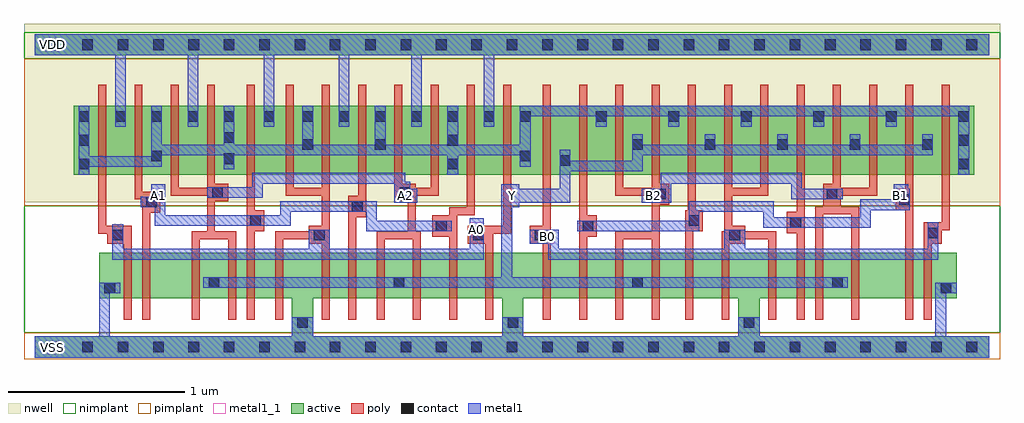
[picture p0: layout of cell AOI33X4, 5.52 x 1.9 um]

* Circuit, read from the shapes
.subckt AOI33X4 A0 A1 A2 B0 B1 B2 VDD VSS Y
M1 n1 A0 VSS VSS nfet w=0.26u l=0.045u
M2 n2 A1 n1 VSS nfet w=0.26u l=0.045u
M3 Y A2 n2 VSS nfet w=0.26u l=0.045u
M4 n3 A2 Y VSS nfet w=0.26u l=0.045u
M5 n4 A1 n3 VSS nfet w=0.26u l=0.045u
M6 VSS A0 n4 VSS nfet w=0.26u l=0.045u
M7 n5 A0 VSS VSS nfet w=0.26u l=0.045u
M8 n6 A1 n5 VSS nfet w=0.26u l=0.045u
M9 Y A2 n6 VSS nfet w=0.26u l=0.045u
M10 n7 A2 Y VSS nfet w=0.26u l=0.045u
M11 n8 A1 n7 VSS nfet w=0.26u l=0.045u
M12 VSS A0 n8 VSS nfet w=0.26u l=0.045u
M13 n9 B0 VSS VSS nfet w=0.26u l=0.045u
M14 n10 B1 n9 VSS nfet w=0.26u l=0.045u
M15 Y B2 n10 VSS nfet w=0.26u l=0.045u
M16 n11 B2 Y VSS nfet w=0.26u l=0.045u
M17 n12 B1 n11 VSS nfet w=0.26u l=0.045u
M18 VSS B0 n12 VSS nfet w=0.26u l=0.045u
M19 n13 B0 VSS VSS nfet w=0.26u l=0.045u
M20 n14 B1 n13 VSS nfet w=0.26u l=0.045u
M21 Y B2 n14 VSS nfet w=0.26u l=0.045u
M22 n15 B2 Y VSS nfet w=0.26u l=0.045u
M23 n16 B1 n15 VSS nfet w=0.26u l=0.045u
M24 VSS B0 n16 VSS nfet w=0.26u l=0.045u
M25 VDD A0 n17 VDD pfet w=0.39u l=0.045u m=4
M26 n17 A1 VDD VDD pfet w=0.39u l=0.045u m=4
M27 VDD A2 n17 VDD pfet w=0.39u l=0.045u m=4
M28 Y B0 n17 VDD pfet w=0.39u l=0.045u m=4
M29 n17 B1 Y VDD pfet w=0.39u l=0.045u m=4
M30 Y B2 n17 VDD pfet w=0.39u l=0.045u m=4
.ends

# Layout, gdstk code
import gdstk
lib = gdstk.Library(unit=1e-6, precision=5e-10)
def R(c, l, rs):  # rectangles x0, y0, x1, y1
    for r in rs: c.add(gdstk.rectangle(r[:2], r[2:], *l))
def A(c, l, x, y, w, h, nx, ny, dx, dy):  # array of equal rectangles
    R(c, l, [(x+i*dx, y+j*dy, x+i*dx+w, y+j*dy+h) for i in range(nx) for j in range(ny)])
def P(c, l, *ps):  # polygons
    for p in ps: c.add(gdstk.Polygon(p, *l))
active = (1, 0)
nwell = (2, 0)
poly = (3, 0)
nimplant = (4, 0)
pimplant = (5, 0)
contact = (6, 0)
metal1 = (7, 0)
metal1_1 = (7, 1)

aoi33x4 = lib.new_cell('AOI33X4')
R(aoi33x4, active, [(0.22,0.975,5.315,1.365), (0,1.65,5.4,1.77)])
P(aoi33x4, active, [(0.365,0.535),(5.215,0.535),(5.215,0.275),(4.1,0.275),(4.1,0.06),(5.4,0.06),(5.4,-0.06),(0,-0.06),(0,0.06),(1.455,0.06),(1.455,0.275),(1.575,0.275),(1.575,0.06),(2.645,0.06),(2.645,0.275),(2.765,0.275),(2.765,0.06),(3.98,0.06),(3.98,0.275),(0.365,0.275)])
R(aoi33x4, nwell, [(-0.06,0.82,5.46,1.83)])
P(aoi33x4, poly, [(0.36,1.485),(0.405,1.485),(0.405,0.685),(0.55,0.685),(0.55,0.155),(0.505,0.155),(0.505,0.585),(0.41,0.585),(0.41,0.64),(0.36,0.64)],
  [(0.565,1.485),(0.61,1.485),(0.61,0.88),(0.71,0.88),(0.71,0.76),(0.655,0.76),(0.655,0.155),(0.61,0.155),(0.61,0.835),(0.565,0.835)],
  [(0.77,1.485),(0.815,1.485),(0.815,0.9),(0.975,0.9),(0.975,1.485),(1.02,1.485),(1.02,0.925),(1.095,0.925),(1.095,0.825),(1.02,0.825),(1.02,0.655),(1.14,0.655),(1.14,0.155),(1.095,0.155),(1.095,0.61),(0.935,0.61),(0.935,0.155),(0.89,0.155),(0.89,0.655),(0.975,0.655),(0.975,0.855),(0.77,0.855)],
  [(1.2,1.485),(1.245,1.485),(1.245,0.775),(1.3,0.775),(1.3,0.655),(1.245,0.655),(1.245,0.155),(1.2,0.155)],
  [(1.42,1.485),(1.465,1.485),(1.465,0.9),(1.625,0.9),(1.625,1.485),(1.67,1.485),(1.67,0.155),(1.625,0.155),(1.625,0.585),(1.55,0.585),(1.55,0.61),(1.405,0.61),(1.405,0.155),(1.36,0.155),(1.36,0.655),(1.55,0.655),(1.55,0.685),(1.625,0.685),(1.625,0.855),(1.42,0.855)],
  [(1.83,1.485),(1.875,1.485),(1.875,0.735),(1.82,0.735),(1.82,0.155),(1.775,0.155),(1.775,0.855),(1.83,0.855)],
  [(2.035,1.485),(2.08,1.485),(2.08,0.925),(2.155,0.925),(2.155,0.9),(2.24,0.9),(2.24,1.485),(2.285,1.485),(2.285,0.855),(2.155,0.855),(2.155,0.655),(2.185,0.655),(2.185,0.155),(2.14,0.155),(2.14,0.61),(1.98,0.61),(1.98,0.155),(1.935,0.155),(1.935,0.655),(2.11,0.655),(2.11,0.825),(2.035,0.825)],
  [(2.445,1.485),(2.49,1.485),(2.49,0.745),(2.39,0.745),(2.39,0.155),(2.345,0.155),(2.345,0.625),(2.25,0.625),(2.25,0.745),(2.345,0.745),(2.345,0.79),(2.445,0.79)],
  [(2.65,1.485),(2.695,1.485),(2.695,0.64),(2.595,0.64),(2.595,0.155),(2.55,0.155),(2.55,0.585),(2.45,0.585),(2.45,0.685),(2.65,0.685)],
  [(2.875,1.485),(2.92,1.485),(2.92,0.155),(2.875,0.155),(2.875,0.585),(2.8,0.585),(2.8,0.685),(2.875,0.685)],
  [(3.08,1.485),(3.125,1.485),(3.125,0.745),(3.18,0.745),(3.18,0.625),(3.125,0.625),(3.125,0.155),(3.08,0.155)],
  [(3.285,1.485),(3.33,1.485),(3.33,0.9),(3.49,0.9),(3.49,1.485),(3.535,1.485),(3.535,0.925),(3.59,0.925),(3.59,0.805),(3.535,0.805),(3.535,0.155),(3.49,0.155),(3.49,0.61),(3.33,0.61),(3.33,0.155),(3.285,0.155),(3.285,0.655),(3.49,0.655),(3.49,0.855),(3.285,0.855)],
  [(3.695,1.485),(3.74,1.485),(3.74,0.775),(3.78,0.775),(3.78,0.655),(3.725,0.655),(3.725,0.155),(3.68,0.155),(3.68,0.775),(3.695,0.775)],
  [(3.9,1.485),(3.945,1.485),(3.945,0.9),(4.105,0.9),(4.105,1.485),(4.15,1.485),(4.15,0.855),(3.945,0.855),(3.945,0.685),(4.02,0.685),(4.02,0.655),(4.195,0.655),(4.195,0.155),(4.15,0.155),(4.15,0.61),(4.02,0.61),(4.02,0.585),(3.93,0.585),(3.93,0.155),(3.885,0.155),(3.885,0.655),(3.9,0.655)],
  [(4.31,1.485),(4.355,1.485),(4.355,0.155),(4.31,0.155),(4.31,0.645),(4.255,0.645),(4.255,0.765),(4.31,0.765)],
  [(4.515,1.485),(4.56,1.485),(4.56,0.9),(4.72,0.9),(4.72,1.485),(4.765,1.485),(4.765,0.855),(4.56,0.855),(4.56,0.795),(4.665,0.795),(4.665,0.155),(4.62,0.155),(4.62,0.75),(4.46,0.75),(4.46,0.155),(4.415,0.155),(4.415,0.795),(4.46,0.795),(4.46,0.925),(4.515,0.925)],
  [(4.925,1.485),(4.97,1.485),(4.97,0.155),(4.925,0.155),(4.925,0.775),(4.87,0.775),(4.87,0.895),(4.925,0.895)],
  [(5.13,1.485),(5.175,1.485),(5.175,0.66),(5.13,0.66),(5.13,0.585),(5.075,0.585),(5.075,0.155),(5.03,0.155),(5.03,0.705),(5.13,0.705)])
R(aoi33x4, nimplant, [(-0.06,0.08,5.46,0.8), (-0.06,1.63,5.46,1.78)])
R(aoi33x4, pimplant, [(-0.06,-0.07,5.46,0.08), (-0.06,0.8,5.46,1.63)])
A(aoi33x4, contact, 0.07, -0.03, 0.06, 0.06, 27, 2, 0.2, 1.71)
A(aoi33x4, contact, 3.38, 1.115, 0.06, 0.06, 5, 1, 0.41, 0)
A(aoi33x4, contact, 0.25, 1.275, 0.06, 0.06, 5, 1, 0.205, 0)
A(aoi33x4, contact, 1.515, 1.275, 0.06, 0.06, 7, 1, 0.205, 0)
A(aoi33x4, contact, 3.175, 1.275, 0.06, 0.06, 6, 1, 0.41, 0)
R(aoi33x4, contact, [(1.485,0.11,1.545,0.17), (2.675,0.11,2.735,0.17), (4.01,0.11,4.07,0.17), (0.395,0.305,0.455,0.365), (5.125,0.305,5.185,0.365), (0.985,0.335,1.045,0.395), (2.03,0.335,2.09,0.395), (3.38,0.335,3.44,0.395), (4.51,0.335,4.57,0.395), (0.44,0.605,0.5,0.665), (1.58,0.605,1.64,0.665), (2.48,0.605,2.54,0.665), (2.83,0.605,2.89,0.665), (3.93,0.605,3.99,0.665), (5.05,0.615,5.11,0.675), (2.27,0.655,2.33,0.715), (3.1,0.655,3.16,0.715), (4.275,0.675,4.335,0.735), (1.22,0.685,1.28,0.745), (3.7,0.685,3.76,0.745), (1.795,0.765,1.855,0.825), (0.63,0.79,0.69,0.85), (4.89,0.805,4.95,0.865), (3.51,0.835,3.57,0.895), (4.48,0.835,4.54,0.895), (1.005,0.845,1.065,0.905), (2.065,0.845,2.125,0.905), (0.25,1.005,0.31,1.065), (2.335,1.005,2.395,1.065), (5.225,1.005,5.285,1.065), (2.97,1.025,3.03,1.085), (1.07,1.035,1.13,1.095), (0.66,1.05,0.72,1.11), (2.745,1.05,2.805,1.11), (1.515,1.115,1.575,1.175), (1.925,1.115,1.985,1.175), (0.25,1.14,0.31,1.2), (2.335,1.14,2.395,1.2), (5.225,1.14,5.285,1.2), (1.07,1.155,1.13,1.215), (1.295,1.275,1.355,1.335)])
P(aoi33x4, metal1, [(0,1.77),(5.4,1.77),(5.4,1.65),(2.6,1.65),(2.6,1.245),(2.54,1.245),(2.54,1.65),(2.19,1.65),(2.19,1.245),(2.13,1.245),(2.13,1.65),(1.78,1.65),(1.78,1.245),(1.72,1.245),(1.72,1.65),(1.355,1.65),(1.355,1.245),(1.295,1.245),(1.295,1.65),(0.925,1.65),(0.925,1.245),(0.865,1.245),(0.865,1.65),(0.515,1.65),(0.515,1.245),(0.455,1.245),(0.455,1.65),(0,1.65)],
  [(0.25,1.365),(0.31,1.365),(0.31,1.08),(0.66,1.08),(0.66,1.365),(0.72,1.365),(0.72,1.145),(1.07,1.145),(1.07,1.365),(1.13,1.365),(1.13,1.145),(1.515,1.145),(1.515,1.365),(1.575,1.365),(1.575,1.145),(1.925,1.145),(1.925,1.365),(1.985,1.365),(1.985,1.145),(2.335,1.145),(2.335,1.365),(2.395,1.365),(2.395,1.145),(2.745,1.145),(2.745,1.365),(5.285,1.365),(5.285,0.975),(5.225,0.975),(5.225,1.305),(4.875,1.305),(4.875,1.245),(4.815,1.245),(4.815,1.305),(4.465,1.305),(4.465,1.245),(4.405,1.245),(4.405,1.305),(4.055,1.305),(4.055,1.245),(3.995,1.245),(3.995,1.305),(3.645,1.305),(3.645,1.245),(3.585,1.245),(3.585,1.305),(3.235,1.305),(3.235,1.245),(3.175,1.245),(3.175,1.305),(2.805,1.305),(2.805,1.02),(2.745,1.02),(2.745,1.085),(2.395,1.085),(2.395,0.975),(2.335,0.975),(2.335,1.085),(1.13,1.085),(1.13,1.005),(1.07,1.005),(1.07,1.085),(0.72,1.085),(0.72,1.02),(0.31,1.02),(0.31,0.975),(0.25,0.975)],
  [(1.23,0.985),(2.095,0.985),(2.095,0.935),(2.125,0.935),(2.125,0.895),(2.165,0.895),(2.165,0.815),(2.035,0.815),(2.035,0.925),(1.29,0.925),(1.29,0.845),(0.975,0.845),(0.975,0.905),(1.23,0.905)],
  [(3.38,1.205),(3.44,1.205),(3.44,1.145),(3.79,1.145),(3.79,1.205),(3.85,1.205),(3.85,1.145),(4.2,1.145),(4.2,1.205),(4.26,1.205),(4.26,1.145),(4.61,1.145),(4.61,1.205),(4.67,1.205),(4.67,1.145),(5.02,1.145),(5.02,1.205),(5.08,1.205),(5.08,1.085),(3.44,1.085),(3.44,0.995),(3.03,0.995),(3.03,0.815),(2.74,0.815),(2.74,0.79),(2.7,0.79),(2.7,0.395),(4.6,0.395),(4.6,0.335),(0.955,0.335),(0.955,0.395),(2.64,0.395),(2.64,0.92),(2.74,0.92),(2.74,0.895),(2.97,0.895),(2.97,1.115),(3.03,1.115),(3.03,1.055),(3.38,1.055)],
  [(0.66,0.92),(0.74,0.92),(0.74,0.745),(1.39,0.745),(1.39,0.825),(1.935,0.825),(1.935,0.715),(2.36,0.715),(2.36,0.655),(1.875,0.655),(1.875,0.765),(1.45,0.765),(1.45,0.685),(0.68,0.685),(0.68,0.79),(0.6,0.79),(0.6,0.85),(0.66,0.85)],
  [(3.54,0.985),(4.34,0.985),(4.34,0.895),(4.57,0.895),(4.57,0.835),(4.28,0.835),(4.28,0.925),(3.6,0.925),(3.6,0.815),(3.435,0.815),(3.435,0.895),(3.54,0.895)],
  [(4.86,0.92),(4.94,0.92),(4.94,0.895),(4.95,0.895),(4.95,0.775),(4.73,0.775),(4.73,0.675),(4.12,0.675),(4.12,0.765),(3.76,0.765),(3.76,0.655),(3.07,0.655),(3.07,0.715),(3.7,0.715),(3.7,0.825),(4.18,0.825),(4.18,0.735),(4.67,0.735),(4.67,0.835),(4.86,0.835)],
  [(0.44,0.695),(0.5,0.695),(0.5,0.555),(1.55,0.555),(1.55,0.665),(1.67,0.665),(1.67,0.555),(2.46,0.555),(2.46,0.73),(2.54,0.73),(2.54,0.495),(0.44,0.495)],
  [(2.8,0.665),(2.965,0.665),(2.965,0.555),(3.9,0.555),(3.9,0.665),(4.02,0.665),(4.02,0.555),(5.05,0.555),(5.05,0.705),(5.11,0.705),(5.11,0.495),(2.905,0.495),(2.905,0.585),(2.8,0.585)],
  [(0.365,0.365),(0.485,0.365),(0.485,0.305),(0.425,0.305),(0.425,0.06),(1.455,0.06),(1.455,0.17),(1.575,0.17),(1.575,0.06),(2.645,0.06),(2.645,0.17),(2.765,0.17),(2.765,0.06),(3.98,0.06),(3.98,0.17),(4.1,0.17),(4.1,0.06),(5.095,0.06),(5.095,0.365),(5.215,0.365),(5.215,0.305),(5.155,0.305),(5.155,0.06),(5.4,0.06),(5.4,-0.06),(0,-0.06),(0,0.06),(0.365,0.06)])
R(aoi33x4, metal1_1, [(0.06,-0.04,0.14,0.04), (2.86,0.585,2.94,0.665), (2.46,0.625,2.54,0.705), (0.66,0.815,0.74,0.895), (2.06,0.815,2.14,0.895), (2.66,0.815,2.74,0.895), (3.46,0.815,3.54,0.895), (4.86,0.815,4.94,0.895), (0.06,1.67,0.14,1.75)])
aoi33x4.add(gdstk.Label('Y', (2.7,0.855), layer=7, texttype=1))
aoi33x4.add(gdstk.Label('A2', (2.1,0.855), layer=7, texttype=1))
aoi33x4.add(gdstk.Label('B2', (3.5,0.855), layer=7, texttype=1))
aoi33x4.add(gdstk.Label('B1', (4.9,0.855), layer=7, texttype=1))
aoi33x4.add(gdstk.Label('A1', (0.7,0.855), layer=7, texttype=1))
aoi33x4.add(gdstk.Label('A0', (2.5,0.665), layer=7, texttype=1))
aoi33x4.add(gdstk.Label('B0', (2.9,0.625), layer=7, texttype=1))
aoi33x4.add(gdstk.Label('VDD', (0.1,1.71), layer=7, texttype=1))
aoi33x4.add(gdstk.Label('VSS', (0.1,0), layer=7, texttype=1))
aoi33x4.add(gdstk.Label('AOI33X4', (0,0), layer=63, texttype=0))

lib.write_gds('AOI33X4.gds')
